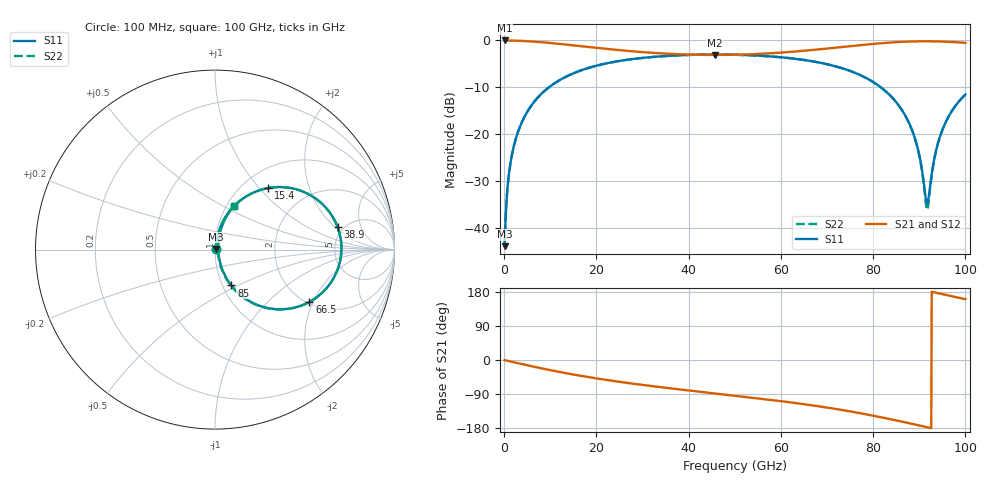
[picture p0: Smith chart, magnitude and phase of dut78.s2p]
! Touchstone file exported from HFSS 2026.1.0
!  File:  C:/ffzhzh/LocalFiles/Ansys_Project_Files/temp_train_RDL_78_1783498752_55944.aedt
!  Generated:  04:20:31 PM Jul  8, 2026
!  Design:  RDL
!  Project:  temp_train_RDL_78_1783498752_55944
! Variables:
!  h_bsmrdl = 2um
!  h_ox = 20um
!  h_rdl = 5um
!  h_sub = 80um
!  h_tmrdl = 3.18um
!  h_tsv = 80um
!  h_via = 3um
!  l_bsmrdl = 300um
!  l_sub = 1042.3um
!  l_tmrdl = 642.3um
!  m_sub = 200um
!  pitch = 54.06um
!  r_tsv = 6um
!  s_tmrdl = 10um
!  w_bsmrdl = 18um
!  w_sub = 500um
!  w_tmrdl = 13.66um
!  x_tsv_center1 = 649.13um
!  x_tsv_center2 = 967.13um
!  x_tsv_center3 = 1623.09um
!  x_tsv_center4 = 1941.09um
!  x_tsv_center5 = 2597.05um
!  x_tsv_center6 = 2915.05um
# GHz S MA R 50.000000
! Terminal data exported
! Port[1] = TM_RDL1_1_T1
! Port[2] = TM_RDL1_1_T2
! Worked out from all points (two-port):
!   1000 points, 100 MHz to 100 GHz, reference 50 ohm
!   highest |S21| = -0.05 dB at 100 MHz (marker M1); lowest = -3.1 dB at 45.7 GHz (marker M2)
!   |S21| within 3 dB of the highest: start of sweep to 39.98 GHz; 51.36 GHz to end of sweep
!   lowest |S11| = -43.8 dB at 100 MHz (marker M3), VSWR 1.01, Z = 50.5 + j0.374 ohm
!   |S11| at or under -10 dB: start of sweep to 9.719 GHz; 81.65 GHz to end of sweep
!   |S22| runs from -43.8 to -3.0 dB; largest |S21 - S12| = 1.8e-14
!   S11 on the Smith chart (normalised r, x): 100 MHz: 1.01, +0.01; 15.4 GHz: 1.30, +1.12; 38.9 GHz: 4.46, +2.16; 66.5 GHz: 2.06, -1.88; 85 GHz: 1.10, -0.46; 100 GHz: 1.08, +0.57
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0.1  0.006466 34.9  0.9947 -0.3  0.9947 -0.3  0.006466 34.9
! Gamma 0 0 0 0
! Port Impedance 50 0 50 0
0.9  0.03304 76.9  0.9934 -2.6  0.9934 -2.6  0.03304 76.9
1.4  0.05043 78.8  0.9924 -4.0  0.9924 -4.0  0.05043 78.8
3.8  0.1332 76.2  0.9837 -10.6  0.9837 -10.6  0.1332 76.2
8.3  0.2759 65.4  0.9512 -22.5  0.9512 -22.5  0.2759 65.4
15.4  0.4529 49.2  0.8786 -39.2  0.8786 -39.2  0.4529 49.2
16.8  0.4806 46.3  0.8637 -42.1  0.8637 -42.1  0.4806 46.3
33.4  0.6713 18.1  0.7282 -70.9  0.7282 -70.9  0.6713 18.0
38.9  0.6946 10.4  0.7069 -78.8  0.7069 -78.8  0.6946 10.3
45.7  0.7045 1.2  0.6977 -88.2  0.6977 -88.2  0.7045 1.1
50.1  0.7006 -4.7  0.7016 -94.2  0.7016 -94.2  0.7005 -4.8
66.5  0.6013 -29.0  0.7849 -119.2  0.7849 -119.2  0.6013 -29.1
66.7  0.5991 -29.3  0.7866 -119.5  0.7866 -119.5  0.599 -29.4
76.5  0.4412 -47.7  0.8797 -138.8  0.8797 -138.8  0.4411 -47.9
83.4  0.2671 -62.3  0.9426 -155.3  0.9426 -155.3  0.2669 -62.8
85  0.2195 -65.5  0.9538 -159.4  0.9538 -159.4  0.2192 -66.1
89.1  0.08925 -69.2  0.9724 -170.3  0.9724 -170.3  0.08872 -70.8
90.1  0.05704 -65.0  0.9743 -173.0  0.9743 -173.0  0.05623 -67.5
91.7  0.01825 1.0  0.9752 -177.4  0.9752 -177.4  0.01573 1.0
93.4  0.05952 69.6  0.9731 178.0  0.9731 178.0  0.05884 71.9
94.8  0.1046 73.6  0.969 174.2  0.969 174.2  0.1042 75.0
100  0.2649 66.3  0.938 160.6  0.938 160.6  0.2648 66.9
